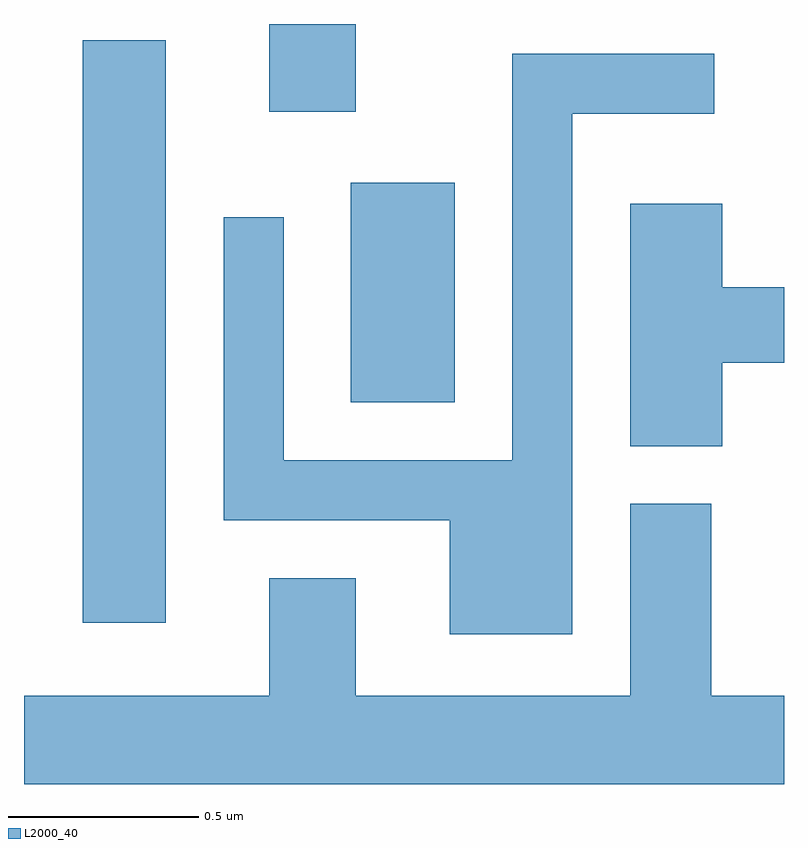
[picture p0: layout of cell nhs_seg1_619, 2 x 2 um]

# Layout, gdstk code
import gdstk
lib = gdstk.Library(unit=1e-6, precision=1e-09)
def R(c, l, rs):  # rectangles x0, y0, x1, y1
    for r in rs: c.add(gdstk.rectangle(r[:2], r[2:], *l))
def P(c, l, *ps):  # polygons
    for p in ps: c.add(gdstk.Polygon(p, *l))
L2000_40 = (2000, 40)

nhs_seg1_619 = lib.new_cell('nhs_seg1_619')
R(nhs_seg1_619, L2000_40, [(189.766,911.136,189.984,912.669), (190.471,911.716,190.744,912.294), (190.256,912.481,190.484,912.712)])
P(nhs_seg1_619, L2000_40, [(191.054,912.476),(191.428,912.476),(191.428,912.634),(190.896,912.634),(190.896,911.564),(190.294,911.564),(190.294,912.203),(190.136,912.203),(190.136,911.406),(190.731,911.406),(190.731,911.106),(191.054,911.106)],
  [(191.449,911.821),(191.611,911.821),(191.611,912.019),(191.449,912.019),(191.449,912.239),(191.206,912.239),(191.206,911.601),(191.449,911.601)],
  [(191.611,910.944),(191.419,910.944),(191.419,911.449),(191.206,911.449),(191.206,910.944),(190.484,910.944),(190.484,911.254),(190.256,911.254),(190.256,910.944),(189.611,910.944),(189.611,910.712),(191.611,910.712)])

lib.write_gds('nhs_seg1_619.gds')
